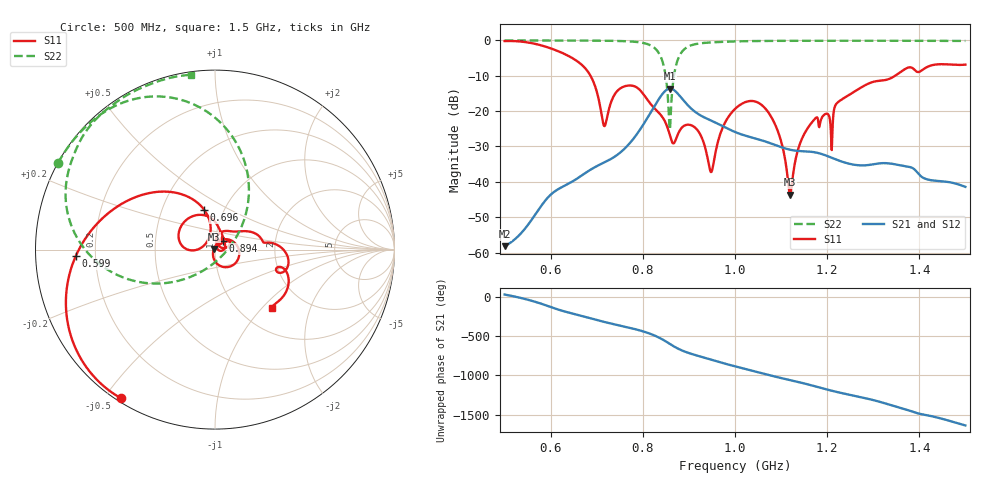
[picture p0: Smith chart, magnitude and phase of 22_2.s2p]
! TOUCHSTONE file generated by CST MICROWAVE STUDIO
! Date and time: Wed Oct 28 19:37:36 2020
! Project name: Scenario_1_Circular_Tissue_out_of_Line_v2.cst
! Parameters = {dy1=17.3; L_HA=400; MT=2.54; Rad_Dielectric=30; Rad_Lower=7.3; Rad_Upper=30; a_HA=580; a_WG=246; b_HA=500; b_WG=121; c_HA=0; c_WG=187; d_feed=85; dx1=346; h_feed=15; h_lower=18; h_upper=40}
! Header version: 2018
! Port assignment regex: !\s*Touchstone port\s*([0-9]+)\s*=\s*(CST MWS port|CST DS port)\s*([0-9]+|Zmin|Zmax)\s*\(\"(.*)\"\)(\s*mode\s*([0-9]+))?.*
! Touchstone port assignment:
! Touchstone port 1 = CST MWS port 1 ("")
! Touchstone port 2 = CST MWS port 2 ("")
# GHz S DB R 50
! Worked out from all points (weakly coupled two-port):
!   1003 points, 500 MHz to 1.5 GHz, reference 50 ohm
!   highest |S21| = -13.62 dB at 859 MHz (marker M1); lowest = -58.2 dB at 500 MHz (marker M2)
!   lowest |S11| = -43.6 dB at 1.12 GHz (marker M3), VSWR 1.01, Z = 49.4 + j0.302 ohm
!   |S11| at or under -10 dB: 686.4 MHz to 1.347 GHz (661 MHz wide, 65 % of centre)
!   |S22| runs from -25.2 to 0.0 dB; largest |S21 - S12| = 6.7e-05
!   S11 on the Smith chart (normalised r, x): 500 MHz: 0.01, -0.55; 599 MHz: 0.13, -0.02; 696 MHz: 0.81, +0.38; 894 MHz: 1.08, +0.10; 1.5 GHz: 1.39, -1.14
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0.5  -0.18 -122.3  -58.20 33.5  -58.20 33.5  -0.01 151.1
0.599  -2.19 -177.3  -43.76 -123.7  -43.80 -123.5  -0.02 144.2
0.667  -6.84 135.0  -38.24 120.8  -38.23 120.9  -0.04 138.3
0.696  -12.80 105.1  -35.84 74.8  -35.85 74.8  -0.06 135.3
0.716  -24.20 138.5  -34.54 43.9  -34.54 43.9  -0.08 132.8
0.765  -12.83 147.6  -30.01 -22.8  -30.01 -22.8  -0.24 124.2
0.834  -20.37 67.0  -16.73 -153.7  -16.73 -153.7  -3.43 84.4
0.859  -26.97 44.2  -13.62 121.0  -13.62 121.0  -25.04 -66.7
0.873  -27.54 74.1  -14.66 72.2  -14.66 72.2  -6.59 -157.6
0.894  -23.90 48.4  -17.83 17.9  -17.83 17.9  -2.08 173.4
0.923  -26.23 -0.1  -21.04 -35.9  -21.04 -35.9  -0.85 156.2
0.948  -37.26 24.6  -22.67 -78.7  -22.67 -78.7  -0.56 148.9
1  -19.39 26.6  -25.90 -163.9  -25.90 -163.8  -0.28 140.2
1.072  -20.29 -71.5  -28.86 86.9  -28.86 86.9  -0.14 132.2
1.099  -28.05 -105.0  -30.14 47.6  -30.14 47.6  -0.12 129.7
1.12  -43.60 152.4  -30.93 19.1  -30.93 19.1  -0.11 127.9
1.14  -29.57 69.4  -31.30 -8.0  -31.30 -8.0  -0.11 126.3
1.167  -23.17 53.3  -31.53 -48.5  -31.53 -48.5  -0.10 124.2
1.209  -28.67 16.1  -33.15 -114.6  -33.15 -114.6  -0.09 120.9
1.225  -17.30 48.2  -33.96 -137.1  -33.96 -137.1  -0.08 119.7
1.334  -10.92 7.8  -34.78 68.4  -34.78 68.4  -0.09 111.4
1.5  -6.85 -45.5  -41.42 160.4  -41.41 160.4  -0.14 97.8
